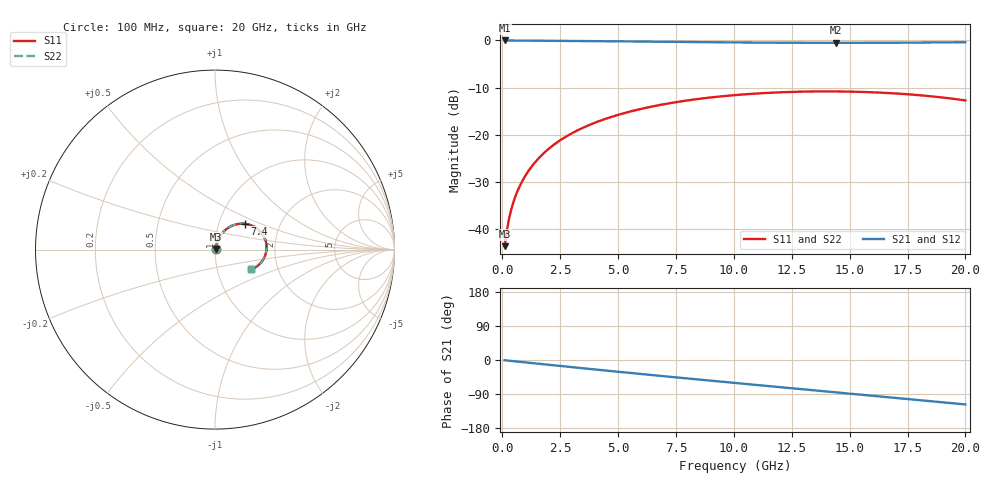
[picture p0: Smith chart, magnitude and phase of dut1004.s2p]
! Touchstone file exported from HFSS 2026.1.0
!  File:  C:/ffzhzh/LocalFiles/Ansys_Project_Files/temp_train_TSV_RDL_1004_1783290616_30076.aedt
!  Generated:  06:38:45 AM Jul  6, 2026
!  Design:  TSV_RDL
!  Project:  temp_train_TSV_RDL_1004_1783290616_30076
! Variables:
!  h_bsmrdl = 4.21um
!  h_ox = 20um
!  h_rdl = 5um
!  h_sub = 90.12um
!  h_tmrdl = 4.52um
!  h_tsv = 90.12um
!  h_via = 3um
!  l_bsmrdl = 175.84um
!  l_sub = 1773.03um
!  l_tmrdl = 173.78um
!  m_sub = 200um
!  pitch = 49.1um
!  r_tsv = 13.06um
!  s_tmrdl = 10um
!  w_bsmrdl = 22.8um
!  w_sub = 500um
!  w_tmrdl = 27.33um
!  x_tsv_center1 = 187.445um
!  x_tsv_center2 = 386.085um
!  x_tsv_center3 = 587.195um
!  x_tsv_center4 = 785.835um
!  x_tsv_center5 = 986.945um
!  x_tsv_center6 = 1185.585um
# GHz S MA R 50.000000
! Terminal data exported
! Port[1] = TM_RDL1_1_T1
! Port[2] = TM_RDL5_1_T1
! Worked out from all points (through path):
!   200 points, 100 MHz to 20 GHz, reference 50 ohm
!   highest |S21| = -0.05 dB at 100 MHz (marker M1); lowest = -0.5 dB at 14.4 GHz (marker M2)
!   group delay of S21, straight-line fit = 16.1 ps
!   lowest |S11| = -43.5 dB at 100 MHz (marker M3), VSWR 1.01, Z = 50.5 + j0.413 ohm
!   |S11| at or under -10 dB: start of sweep to end of sweep
!   |S22| runs from -43.5 to -10.8 dB; largest |S21 - S12| = 1.9e-14
!   S11 on the Smith chart (normalised r, x): 100 MHz: 1.01, +0.01; 7.4 GHz: 1.33, +0.40; 20 GHz: 1.46, -0.34
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0.1  0.006652 37.9  0.9948 -0.7  0.9948 -0.7  0.006652 37.9
! Gamma 0 0 0 0
! Port Impedance 50 0 50 0
0.2  0.009837 54.3  0.9944 -1.3  0.9944 -1.3  0.009837 54.3
0.3  0.01329 61.4  0.994 -2.0  0.994 -2.0  0.01329 61.4
0.4  0.01672 65.2  0.9936 -2.6  0.9936 -2.6  0.01672 65.2
0.5  0.02013 67.6  0.9932 -3.2  0.9932 -3.2  0.02013 67.6
0.6  0.02351 69.2  0.9929 -3.9  0.9929 -3.9  0.02351 69.2
0.8  0.03029 71.1  0.9924 -5.1  0.9924 -5.1  0.03029 71.1
1.1  0.0405 72.2  0.9916 -7.0  0.9916 -7.0  0.0405 72.2
1.6  0.05753 71.7  0.9902 -10.1  0.9902 -10.1  0.05753 71.7
2.1  0.07436 70.0  0.9885 -13.2  0.9885 -13.2  0.07436 70.0
2.7  0.09408 67.2  0.986 -17.0  0.986 -17.0  0.09408 67.2
3.5  0.1193 63.0  0.9821 -21.9  0.9821 -21.9  0.1193 63.0
5  0.1626 54.5  0.9739 -31.0  0.9739 -31.0  0.1626 54.6
6.8  0.2068 44.4  0.9636 -41.7  0.9636 -41.7  0.2068 44.4
7.4  0.2195 41.0  0.9603 -45.3  0.9603 -45.3  0.2195 41.0
10.1  0.2637 26.0  0.9476 -60.9  0.9476 -60.9  0.2637 26.0
11.7  0.2794 17.2  0.9425 -69.9  0.9425 -69.9  0.2794 17.2
13.4  0.2873 7.9  0.9396 -79.6  0.9396 -79.6  0.2873 7.9
14.4  0.2877 2.4  0.9392 -85.2  0.9392 -85.2  0.2877 2.4
16.7  0.2764 -10.2  0.9417 -98.2  0.9417 -98.2  0.2764 -10.2
18.4  0.2573 -19.6  0.9461 -108.0  0.9461 -108.0  0.2573 -19.6
20  0.2311 -28.5  0.9518 -117.3  0.9518 -117.3  0.2311 -28.5
